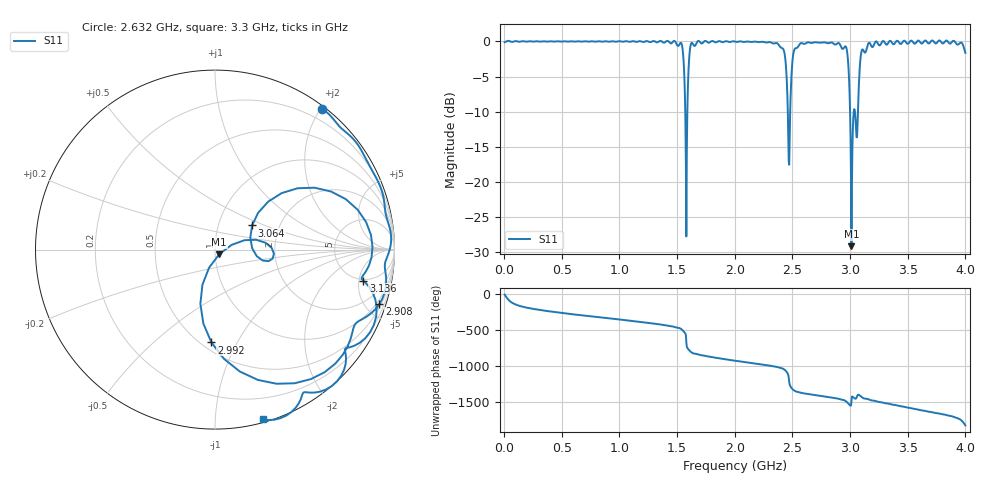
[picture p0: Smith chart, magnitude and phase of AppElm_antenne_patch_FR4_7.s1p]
! TOUCHSTONE file generated by CST MICROWAVE STUDIO
! Date and time: Tue Jun 14 12:12:48 2022
! Project name: AppElm_antenne_patch_FR4.cst
! Parameters = {L=45; W=58.5; e=0.035; h=1.6; lambda=0.190476; ls=120; w0=2.667; w1=0.847; ws=120; y0=18; y1=23.8}
! Header version: 2018
! Port assignment regex: !\s*Touchstone port\s*([0-9]+)\s*=\s*(CST MWS port|CST DS port)\s*([0-9]+|Zmin|Zmax)\s*\(\"(.*)\"\)(\s*mode\s*([0-9]+))?.*
! Touchstone port assignment:
! Touchstone port 1 = CST MWS port 1 ("")
# GHz S MA R 50
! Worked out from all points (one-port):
!   1000 points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, 4 MHz to 4 GHz, reference 50 ohm
!   lowest |S11| = -29.2 dB at 3.012 GHz (marker M1), VSWR 1.07, Z = 52.4 - j2.64 ohm
!   |S11| at or under -10 dB: 2.46 GHz to 2.481 GHz (20.72 MHz wide, 0.839 % of centre); 3 GHz to 3.032 GHz (32.23 MHz wide, 1.07 % of centre); 3.042 GHz to 3.068 GHz (26.33 MHz wide, 0.862 % of centre)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
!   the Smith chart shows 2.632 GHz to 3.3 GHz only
!   S11 on the Smith chart (normalised r, x): 2.632 GHz: 0.04, +2.01; 2.908 GHz: 0.70, -6.08; 2.992 GHz: 0.56, -0.79; 3.064 GHz: 1.45, +0.42; 3.136 GHz: 4.77, -5.75; 3.3 GHz: 0.02, -1.32
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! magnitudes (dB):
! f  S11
! 4 MHz  -0.1
! 504 MHz  0.0
! 1.004 GHz  0.0
! 1.504 GHz  -0.6
! 1.544 GHz  -0.7
! 1.564 GHz  -5.6
! 1.58 GHz  -27.8
! 1.612 GHz  -1.1
! 1.628 GHz  -0.2
! 2.004 GHz  0.0
! 2.408 GHz  -0.9
! 2.436 GHz  -2.2
! 2.468 GHz  -17.1
! 2.484 GHz  -8.0
! 2.504 GHz  -2.2
! 2.632 GHz  -0.1
! 2.908 GHz  -0.3
! 2.968 GHz  -0.9
! 2.984 GHz  -3.2
! 2.992 GHz  -5.7
! 3.004 GHz  -13.7
! 3.012 GHz  -29.2
! 3.064 GHz  -12.2
! 3.096 GHz  -1.7
! 3.136 GHz  -1.5
! 3.3 GHz  -0.1
! 3.504 GHz  -0.3
! 4 GHz  -1.6
